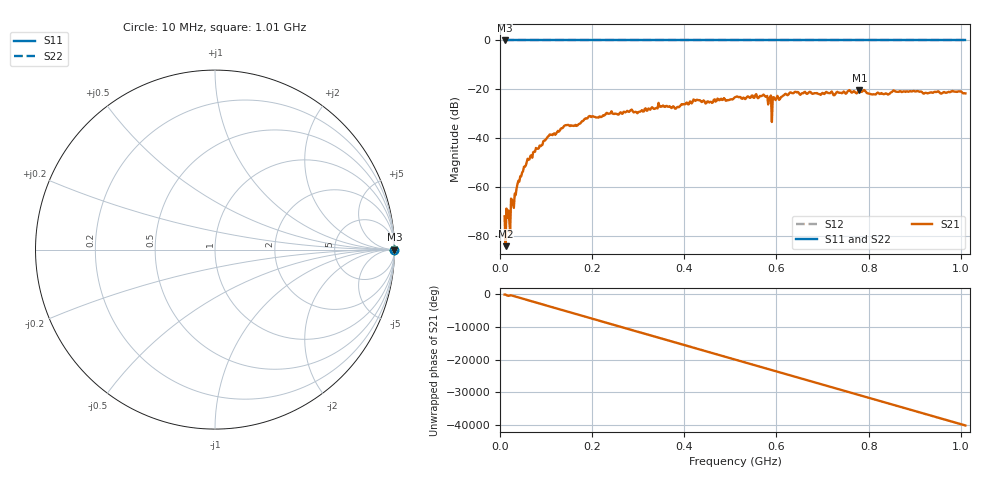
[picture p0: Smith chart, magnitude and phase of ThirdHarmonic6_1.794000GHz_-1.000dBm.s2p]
! 8/16/2025 9:42:35 PM
! C:\ANRITSUVNA\TEMP\TEMP.S2P
! CHANNEL.1
! TR.MEASUREMENT
! RAW.DATA
! RF.CORRECTION.OFF
! AVERAGING.OFF
! IF.BANDWIDTH: 5KHZ
! SWEEPTYPE:  FREQ.SWEEP(Linear)
! Reference Plane Port Info
! PORT:  PORT1  PORT2
! DISTANCE:  0  m  0  m
! TIME:  0  s  0  s
! PHASE.OFFSET:  0  deg.  0  deg.
! LOSS:  0  dB  0  dB
! REF.LOSS:  0  dB  0  dB
! REF.FREQ:  0  Hz  0  Hz
! Power Info
! POWER:  -20  dBm  -20  dBm
! EFF.POWER:  -20  dBm  -20  dBm
! SOURCE.ATTEN:  0  dB  0  dB
! TEST.ATTEN:  0  dB  0  dB
# GHZ S RI R 50.0
! FREQ.GHZ  S11RE  S11IM  S21RE  S21IM  S12RE  S12IM  S22RE  S22IM
!; PortSelection: Port_12
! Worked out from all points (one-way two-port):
!   501 points, 10 MHz to 1.01 GHz, reference 50 ohm
!   highest |S21| = -20.24 dB at 780 MHz (marker M1); lowest = -84.1 dB at 12 MHz (marker M2)
!   lowest |S11| = 0.0 dB at 10 MHz (marker M3)
!   |S11| at or under -10 dB: nowhere
!   |S22| runs from 0.0 to 0.0 dB; largest |S21 - S12| = 1.1
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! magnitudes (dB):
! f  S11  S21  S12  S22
! 10 MHz  0.0  -71.9  0.0  0.0
! 12 MHz  0.0  -84.1  0.0  0.0
! 26 MHz  0.0  -65.1  0.0  0.0
! 28 MHz  0.0  -66.9  0.0  0.0
! 40 MHz  0.0  -57.4  0.0  0.0
! 56 MHz  0.0  -51.1  0.0  0.0
! 76 MHz  0.0  -45.5  0.0  0.0
! 142 MHz  0.0  -34.7  0.0  0.0
! 178 MHz  0.0  -33.0  0.0  0.0
! 196 MHz  0.0  -31.0  0.0  0.0
! 344 MHz  0.0  -25.5  0.0  0.0
! 384 MHz  0.0  -27.3  0.0  0.0
! 424 MHz  0.0  -24.7  0.0  0.0
! 510 MHz  0.0  -23.2  0.0  0.0
! 576 MHz  0.0  -23.0  0.0  0.0
! 584 MHz  0.0  -23.7  0.0  0.0
! 586 MHz  0.0  -23.3  0.0  0.0
! 632 MHz  0.0  -21.3  0.0  0.0
! 678 MHz  0.0  -21.8  0.0  0.0
! 780 MHz  0.0  -20.2  0.0  0.0
! 844 MHz  0.0  -22.0  0.0  0.0
! 1.01 GHz  0.0  -21.6  0.0  0.0
